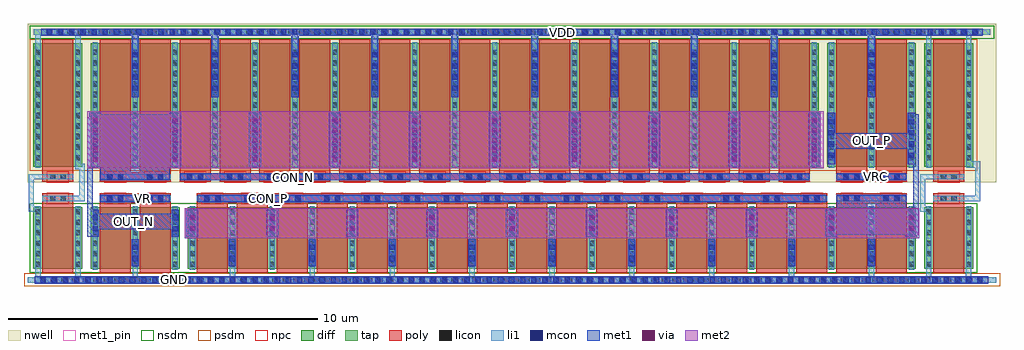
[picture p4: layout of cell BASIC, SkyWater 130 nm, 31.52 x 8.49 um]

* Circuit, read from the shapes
.subckt BASIC CON_N CON_P GND OUT_N OUT_P VDD VR VRC
XM1 GND VDD GND GND sky130_fd_pr__nfet_01v8 w=2 l=1 m=2
XM2 GND VR OUT_N GND sky130_fd_pr__nfet_01v8 w=2 l=1 m=2
XM3 GND CON_P OUT_P GND sky130_fd_pr__nfet_01v8 w=2 l=1 m=16
XM4 GND OUT_P OUT_P GND sky130_fd_pr__nfet_01v8 w=2 l=1 m=2
XM5 VDD GND VDD VDD sky130_fd_pr__pfet_01v8 w=4 l=1 m=2
XM6 VDD OUT_N OUT_N VDD sky130_fd_pr__pfet_01v8 w=4 l=1 m=2
XM7 VDD CON_N OUT_N VDD sky130_fd_pr__pfet_01v8 w=4 l=1 m=16
XM8 VDD VRC OUT_P VDD sky130_fd_pr__pfet_01v8 w=4 l=1 m=2
.ends

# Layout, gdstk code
import gdstk
lib = gdstk.Library(unit=1e-6, precision=1e-09)
def R(c, l, rs):  # rectangles x0, y0, x1, y1
    for r in rs: c.add(gdstk.rectangle(r[:2], r[2:], *l))
def A(c, l, x, y, w, h, nx, ny, dx, dy):  # array of equal rectangles
    R(c, l, [(x+i*dx, y+j*dy, x+i*dx+w, y+j*dy+h) for i in range(nx) for j in range(ny)])
nwell = (64, 20)
diff = (65, 20)
tap = (65, 44)
poly = (66, 20)
licon = (66, 44)
li1 = (67, 20)
mcon = (67, 44)
met1_pin = (68, 16)
met1 = (68, 20)
via = (68, 44)
met2 = (69, 20)
nsdm = (93, 44)
psdm = (94, 20)
npc = (95, 20)

sky130_fd_pr__nfet_01v8_ = lib.new_cell('sky130_fd_pr__nfet_01v8_87G7BK')
R(sky130_fd_pr__nfet_01v8_, diff, [(-1.435,-1.155,1.435,0.845)])
R(sky130_fd_pr__nfet_01v8_, poly, [(-1.145,-1.285,-0.145,1.285), (0.145,-1.285,1.145,1.285)])
A(sky130_fd_pr__nfet_01v8_, licon, -1.375, -1.09, 0.17, 0.17, 3, 6, 1.29, 0.34)
R(sky130_fd_pr__nfet_01v8_, licon, [(-0.9,1.035,-0.73,1.205), (-0.56,1.035,-0.39,1.205), (0.39,1.035,0.56,1.205), (0.73,1.035,0.9,1.205)])
A(sky130_fd_pr__nfet_01v8_, li1, -1.375, -1.175, 0.17, 2.04, 3, 1, 1.29, 0)
R(sky130_fd_pr__nfet_01v8_, li1, [(-1.145,1.035,-0.145,1.205), (0.145,1.035,1.145,1.205)])
R(sky130_fd_pr__nfet_01v8_, mcon, [(-0.085,-0.9,0.085,-0.73), (-0.085,-0.54,0.085,-0.37), (-1.375,0.06,-1.205,0.23), (1.205,0.06,1.375,0.23), (-1.375,0.42,-1.205,0.59), (1.205,0.42,1.375,0.59), (-0.91,1.035,-0.74,1.205), (-0.55,1.035,-0.38,1.205), (0.38,1.035,0.55,1.205), (0.74,1.035,0.91,1.205)])
R(sky130_fd_pr__nfet_01v8_, met1, [(-0.115,-1.07,0.115,-0.2), (-1.405,-0.11,-1.175,0.76), (1.175,-0.11,1.405,0.76), (-1.125,1.005,-0.165,1.235), (0.165,1.005,1.125,1.235)])
R(sky130_fd_pr__nfet_01v8_, nsdm, [(-1.56,-1.28,1.56,0.97)])
R(sky130_fd_pr__nfet_01v8_, npc, [(-1,0.935,-0.29,1.305), (0.29,0.935,1,1.305)])
sky130_fd_pr__nfet_01v8_.add(gdstk.Label('D0', (-1.29,-0.155), layer=67, texttype=5))
sky130_fd_pr__nfet_01v8_.add(gdstk.Label('G0', (-0.645,1.12), layer=67, texttype=5))
sky130_fd_pr__nfet_01v8_.add(gdstk.Label('S1', (0,-0.155), layer=67, texttype=5))
sky130_fd_pr__nfet_01v8_.add(gdstk.Label('G1', (0.645,1.12), layer=67, texttype=5))

sky130_fd_pr__pfet_01v8_ = lib.new_cell('sky130_fd_pr__pfet_01v8_BLH2MN')
R(sky130_fd_pr__pfet_01v8_, nwell, [(-1.615,-2.32,1.615,2.49)])
R(sky130_fd_pr__pfet_01v8_, diff, [(-1.435,-1.82,1.435,2.18)])
R(sky130_fd_pr__pfet_01v8_, poly, [(-1.145,-2.305,-0.145,2.31), (0.145,-2.305,1.145,2.31)])
A(sky130_fd_pr__pfet_01v8_, licon, -1.375, -1.605, 0.17, 0.17, 3, 11, 1.29, 0.34)
R(sky130_fd_pr__pfet_01v8_, licon, [(-0.9,-2.225,-0.73,-2.055), (-0.56,-2.225,-0.39,-2.055), (0.39,-2.225,0.56,-2.055), (0.73,-2.225,0.9,-2.055)])
A(sky130_fd_pr__pfet_01v8_, li1, -1.375, -1.84, 0.17, 4.04, 3, 1, 1.29, 0)
R(sky130_fd_pr__pfet_01v8_, li1, [(-1.145,-2.225,-0.145,-2.055), (0.145,-2.225,1.145,-2.055)])
A(sky130_fd_pr__pfet_01v8_, mcon, -1.375, -1.525, 0.17, 0.17, 1, 4, 0, 0.36)
A(sky130_fd_pr__pfet_01v8_, mcon, 1.205, -1.525, 0.17, 0.17, 1, 4, 0, 0.36)
A(sky130_fd_pr__pfet_01v8_, mcon, -0.085, 0.635, 0.17, 0.17, 1, 4, 0, 0.36)
R(sky130_fd_pr__pfet_01v8_, mcon, [(-0.91,-2.225,-0.74,-2.055), (-0.55,-2.225,-0.38,-2.055), (0.38,-2.225,0.55,-2.055), (0.74,-2.225,0.91,-2.055)])
R(sky130_fd_pr__pfet_01v8_, met1, [(-1.125,-2.255,-0.165,-2.025), (0.165,-2.255,1.125,-2.025), (-1.405,-1.735,-1.175,-0.065), (1.175,-1.735,1.405,-0.065), (-0.115,0.425,0.115,2.095)])
R(sky130_fd_pr__pfet_01v8_, psdm, [(-1.56,-1.945,1.56,2.305)])
R(sky130_fd_pr__pfet_01v8_, npc, [(-1,-2.325,-0.29,-1.955), (0.29,-2.325,1,-1.955)])
sky130_fd_pr__pfet_01v8_.add(gdstk.Label('D0', (-1.29,0.18), layer=67, texttype=5))
sky130_fd_pr__pfet_01v8_.add(gdstk.Label('G0', (-0.645,-2.14), layer=67, texttype=5))
sky130_fd_pr__pfet_01v8_.add(gdstk.Label('S1', (0,0.18), layer=67, texttype=5))
sky130_fd_pr__pfet_01v8_.add(gdstk.Label('G1', (0.645,-2.14), layer=67, texttype=5))

c_sky130_fd_pr__pfet_01v8_ = lib.new_cell('sky130_fd_pr__pfet_01v8_TZ8JKT')
R(c_sky130_fd_pr__pfet_01v8_, nwell, [(-0.97,-2.32,0.97,2.49)])
R(c_sky130_fd_pr__pfet_01v8_, diff, [(-0.79,-1.82,0.79,2.18)])
R(c_sky130_fd_pr__pfet_01v8_, poly, [(-0.5,-2.305,0.5,2.31)])
A(c_sky130_fd_pr__pfet_01v8_, licon, -0.73, -1.605, 0.17, 0.17, 1, 11, 0, 0.34)
A(c_sky130_fd_pr__pfet_01v8_, licon, 0.56, -1.605, 0.17, 0.17, 1, 11, 0, 0.34)
R(c_sky130_fd_pr__pfet_01v8_, licon, [(-0.255,-2.225,-0.085,-2.055), (0.085,-2.225,0.255,-2.055)])
R(c_sky130_fd_pr__pfet_01v8_, li1, [(-0.5,-2.225,0.5,-2.055), (-0.73,-1.84,-0.56,2.2), (0.56,-1.84,0.73,2.2)])
R(c_sky130_fd_pr__pfet_01v8_, psdm, [(-0.915,-1.945,0.915,2.305)])
R(c_sky130_fd_pr__pfet_01v8_, npc, [(-0.355,-2.325,0.355,-1.955)])
c_sky130_fd_pr__pfet_01v8_.add(gdstk.Label('D', (-0.645,0.18), layer=67, texttype=5))
c_sky130_fd_pr__pfet_01v8_.add(gdstk.Label('S', (0.645,0.18), layer=67, texttype=5))
c_sky130_fd_pr__pfet_01v8_.add(gdstk.Label('G', (0,-2.14), layer=67, texttype=5))

c_sky130_fd_pr__nfet_01v8_ = lib.new_cell('sky130_fd_pr__nfet_01v8_3H4BCP')
R(c_sky130_fd_pr__nfet_01v8_, diff, [(-0.79,-1.155,0.79,0.845)])
R(c_sky130_fd_pr__nfet_01v8_, poly, [(-0.5,-1.285,0.5,1.285)])
A(c_sky130_fd_pr__nfet_01v8_, licon, -0.73, -1.09, 0.17, 0.17, 1, 6, 0, 0.34)
A(c_sky130_fd_pr__nfet_01v8_, licon, 0.56, -1.09, 0.17, 0.17, 1, 6, 0, 0.34)
R(c_sky130_fd_pr__nfet_01v8_, licon, [(-0.255,1.035,-0.085,1.205), (0.085,1.035,0.255,1.205)])
R(c_sky130_fd_pr__nfet_01v8_, li1, [(-0.73,-1.175,-0.56,0.865), (0.56,-1.175,0.73,0.865), (-0.5,1.035,0.5,1.205)])
R(c_sky130_fd_pr__nfet_01v8_, nsdm, [(-0.915,-1.28,0.915,0.97)])
R(c_sky130_fd_pr__nfet_01v8_, npc, [(-0.355,0.935,0.355,1.305)])
c_sky130_fd_pr__nfet_01v8_.add(gdstk.Label('D', (-0.645,-0.155), layer=67, texttype=5))
c_sky130_fd_pr__nfet_01v8_.add(gdstk.Label('S', (0.645,-0.155), layer=67, texttype=5))
c_sky130_fd_pr__nfet_01v8_.add(gdstk.Label('G', (0,1.12), layer=67, texttype=5))

c_sky130_fd_pr__nfet_01v8__ = lib.new_cell('sky130_fd_pr__nfet_01v8_JTRXKL')
R(c_sky130_fd_pr__nfet_01v8__, diff, [(-10.465,-1.155,10.465,0.845)])
A(c_sky130_fd_pr__nfet_01v8__, poly, -10.175, -1.285, 1, 2.57, 16, 1, 1.29, 0)
A(c_sky130_fd_pr__nfet_01v8__, licon, -10.405, -1.09, 0.17, 0.17, 17, 6, 1.29, 0.34)
R(c_sky130_fd_pr__nfet_01v8__, licon, [(-9.93,1.035,-9.76,1.205), (-9.59,1.035,-9.42,1.205), (-8.64,1.035,-8.47,1.205), (-8.3,1.035,-8.13,1.205), (-7.35,1.035,-7.18,1.205), (-7.01,1.035,-6.84,1.205), (-6.06,1.035,-5.89,1.205), (-5.72,1.035,-5.55,1.205), (-4.77,1.035,-4.6,1.205), (-4.43,1.035,-4.26,1.205), (-3.48,1.035,-3.31,1.205), (-3.14,1.035,-2.97,1.205), (-2.19,1.035,-2.02,1.205), (-1.85,1.035,-1.68,1.205), (-0.9,1.035,-0.73,1.205), (-0.56,1.035,-0.39,1.205), (0.39,1.035,0.56,1.205), (0.73,1.035,0.9,1.205), (1.68,1.035,1.85,1.205), (2.02,1.035,2.19,1.205), (2.97,1.035,3.14,1.205), (3.31,1.035,3.48,1.205), (4.26,1.035,4.43,1.205), (4.6,1.035,4.77,1.205), (5.55,1.035,5.72,1.205), (5.89,1.035,6.06,1.205), (6.84,1.035,7.01,1.205), (7.18,1.035,7.35,1.205), (8.13,1.035,8.3,1.205), (8.47,1.035,8.64,1.205), (9.42,1.035,9.59,1.205), (9.76,1.035,9.93,1.205)])
A(c_sky130_fd_pr__nfet_01v8__, li1, -10.405, -1.175, 0.17, 2.04, 17, 1, 1.29, 0)
A(c_sky130_fd_pr__nfet_01v8__, li1, -10.175, 1.035, 1, 0.17, 16, 1, 1.29, 0)
A(c_sky130_fd_pr__nfet_01v8__, mcon, -9.115, -0.9, 0.17, 0.17, 8, 2, 2.58, 0.36)
A(c_sky130_fd_pr__nfet_01v8__, mcon, -10.405, 0.06, 0.17, 0.17, 9, 2, 2.58, 0.36)
R(c_sky130_fd_pr__nfet_01v8__, mcon, [(-9.94,1.035,-9.77,1.205), (-9.58,1.035,-9.41,1.205), (-8.65,1.035,-8.48,1.205), (-8.29,1.035,-8.12,1.205), (-7.36,1.035,-7.19,1.205), (-7,1.035,-6.83,1.205), (-6.07,1.035,-5.9,1.205), (-5.71,1.035,-5.54,1.205), (-4.78,1.035,-4.61,1.205), (-4.42,1.035,-4.25,1.205), (-3.49,1.035,-3.32,1.205), (-3.13,1.035,-2.96,1.205), (-2.2,1.035,-2.03,1.205), (-1.84,1.035,-1.67,1.205), (-0.91,1.035,-0.74,1.205), (-0.55,1.035,-0.38,1.205), (0.38,1.035,0.55,1.205), (0.74,1.035,0.91,1.205), (1.67,1.035,1.84,1.205), (2.03,1.035,2.2,1.205), (2.96,1.035,3.13,1.205), (3.32,1.035,3.49,1.205), (4.25,1.035,4.42,1.205), (4.61,1.035,4.78,1.205), (5.54,1.035,5.71,1.205), (5.9,1.035,6.07,1.205), (6.83,1.035,7,1.205), (7.19,1.035,7.36,1.205), (8.12,1.035,8.29,1.205), (8.48,1.035,8.65,1.205), (9.41,1.035,9.58,1.205), (9.77,1.035,9.94,1.205)])
A(c_sky130_fd_pr__nfet_01v8__, met1, -9.145, -1.07, 0.23, 0.87, 8, 1, 2.58, 0)
A(c_sky130_fd_pr__nfet_01v8__, met1, -10.435, -0.11, 0.23, 0.87, 9, 1, 2.58, 0)
A(c_sky130_fd_pr__nfet_01v8__, met1, -10.155, 1.005, 0.96, 0.23, 16, 1, 1.29, 0)
R(c_sky130_fd_pr__nfet_01v8__, nsdm, [(-10.59,-1.28,10.59,0.97)])
A(c_sky130_fd_pr__nfet_01v8__, npc, -10.03, 0.935, 0.71, 0.37, 16, 1, 1.29, 0)
c_sky130_fd_pr__nfet_01v8__.add(gdstk.Label('D0', (-10.32,-0.155), layer=67, texttype=5))
c_sky130_fd_pr__nfet_01v8__.add(gdstk.Label('G0', (-9.675,1.12), layer=67, texttype=5))
c_sky130_fd_pr__nfet_01v8__.add(gdstk.Label('S1', (-9.03,-0.155), layer=67, texttype=5))
c_sky130_fd_pr__nfet_01v8__.add(gdstk.Label('G1', (-8.385,1.12), layer=67, texttype=5))
c_sky130_fd_pr__nfet_01v8__.add(gdstk.Label('D2', (-7.74,-0.155), layer=67, texttype=5))
c_sky130_fd_pr__nfet_01v8__.add(gdstk.Label('G2', (-7.095,1.12), layer=67, texttype=5))
c_sky130_fd_pr__nfet_01v8__.add(gdstk.Label('S3', (-6.45,-0.155), layer=67, texttype=5))
c_sky130_fd_pr__nfet_01v8__.add(gdstk.Label('G3', (-5.805,1.12), layer=67, texttype=5))
c_sky130_fd_pr__nfet_01v8__.add(gdstk.Label('D4', (-5.16,-0.155), layer=67, texttype=5))
c_sky130_fd_pr__nfet_01v8__.add(gdstk.Label('G4', (-4.515,1.12), layer=67, texttype=5))
c_sky130_fd_pr__nfet_01v8__.add(gdstk.Label('S5', (-3.87,-0.155), layer=67, texttype=5))
c_sky130_fd_pr__nfet_01v8__.add(gdstk.Label('G5', (-3.225,1.12), layer=67, texttype=5))
c_sky130_fd_pr__nfet_01v8__.add(gdstk.Label('D6', (-2.58,-0.155), layer=67, texttype=5))
c_sky130_fd_pr__nfet_01v8__.add(gdstk.Label('G6', (-1.935,1.12), layer=67, texttype=5))
c_sky130_fd_pr__nfet_01v8__.add(gdstk.Label('S7', (-1.29,-0.155), layer=67, texttype=5))
c_sky130_fd_pr__nfet_01v8__.add(gdstk.Label('G7', (-0.645,1.12), layer=67, texttype=5))
c_sky130_fd_pr__nfet_01v8__.add(gdstk.Label('D8', (0,-0.155), layer=67, texttype=5))
c_sky130_fd_pr__nfet_01v8__.add(gdstk.Label('G8', (0.645,1.12), layer=67, texttype=5))
c_sky130_fd_pr__nfet_01v8__.add(gdstk.Label('S9', (1.29,-0.155), layer=67, texttype=5))
c_sky130_fd_pr__nfet_01v8__.add(gdstk.Label('G9', (1.935,1.12), layer=67, texttype=5))
c_sky130_fd_pr__nfet_01v8__.add(gdstk.Label('D10', (2.58,-0.155), layer=67, texttype=5))
c_sky130_fd_pr__nfet_01v8__.add(gdstk.Label('G10', (3.225,1.12), layer=67, texttype=5))
c_sky130_fd_pr__nfet_01v8__.add(gdstk.Label('S11', (3.87,-0.155), layer=67, texttype=5))
c_sky130_fd_pr__nfet_01v8__.add(gdstk.Label('G11', (4.515,1.12), layer=67, texttype=5))
c_sky130_fd_pr__nfet_01v8__.add(gdstk.Label('D12', (5.16,-0.155), layer=67, texttype=5))
c_sky130_fd_pr__nfet_01v8__.add(gdstk.Label('G12', (5.805,1.12), layer=67, texttype=5))
c_sky130_fd_pr__nfet_01v8__.add(gdstk.Label('S13', (6.45,-0.155), layer=67, texttype=5))
c_sky130_fd_pr__nfet_01v8__.add(gdstk.Label('G13', (7.095,1.12), layer=67, texttype=5))
c_sky130_fd_pr__nfet_01v8__.add(gdstk.Label('D14', (7.74,-0.155), layer=67, texttype=5))
c_sky130_fd_pr__nfet_01v8__.add(gdstk.Label('G14', (8.385,1.12), layer=67, texttype=5))
c_sky130_fd_pr__nfet_01v8__.add(gdstk.Label('S15', (9.03,-0.155), layer=67, texttype=5))
c_sky130_fd_pr__nfet_01v8__.add(gdstk.Label('G15', (9.675,1.12), layer=67, texttype=5))

c_sky130_fd_pr__pfet_01v8__ = lib.new_cell('sky130_fd_pr__pfet_01v8_73VN2K')
R(c_sky130_fd_pr__pfet_01v8__, nwell, [(-10.645,-2.32,10.645,2.49)])
R(c_sky130_fd_pr__pfet_01v8__, diff, [(-10.465,-1.82,10.465,2.18)])
A(c_sky130_fd_pr__pfet_01v8__, poly, -10.175, -2.305, 1, 4.615, 16, 1, 1.29, 0)
A(c_sky130_fd_pr__pfet_01v8__, licon, -10.405, -1.605, 0.17, 0.17, 17, 11, 1.29, 0.34)
R(c_sky130_fd_pr__pfet_01v8__, licon, [(-9.93,-2.225,-9.76,-2.055), (-9.59,-2.225,-9.42,-2.055), (-8.64,-2.225,-8.47,-2.055), (-8.3,-2.225,-8.13,-2.055), (-7.35,-2.225,-7.18,-2.055), (-7.01,-2.225,-6.84,-2.055), (-6.06,-2.225,-5.89,-2.055), (-5.72,-2.225,-5.55,-2.055), (-4.77,-2.225,-4.6,-2.055), (-4.43,-2.225,-4.26,-2.055), (-3.48,-2.225,-3.31,-2.055), (-3.14,-2.225,-2.97,-2.055), (-2.19,-2.225,-2.02,-2.055), (-1.85,-2.225,-1.68,-2.055), (-0.9,-2.225,-0.73,-2.055), (-0.56,-2.225,-0.39,-2.055), (0.39,-2.225,0.56,-2.055), (0.73,-2.225,0.9,-2.055), (1.68,-2.225,1.85,-2.055), (2.02,-2.225,2.19,-2.055), (2.97,-2.225,3.14,-2.055), (3.31,-2.225,3.48,-2.055), (4.26,-2.225,4.43,-2.055), (4.6,-2.225,4.77,-2.055), (5.55,-2.225,5.72,-2.055), (5.89,-2.225,6.06,-2.055), (6.84,-2.225,7.01,-2.055), (7.18,-2.225,7.35,-2.055), (8.13,-2.225,8.3,-2.055), (8.47,-2.225,8.64,-2.055), (9.42,-2.225,9.59,-2.055), (9.76,-2.225,9.93,-2.055)])
A(c_sky130_fd_pr__pfet_01v8__, li1, -10.175, -2.225, 1, 0.17, 16, 1, 1.29, 0)
A(c_sky130_fd_pr__pfet_01v8__, li1, -10.405, -1.84, 0.17, 4.04, 17, 1, 1.29, 0)
A(c_sky130_fd_pr__pfet_01v8__, mcon, -10.405, -1.525, 0.17, 0.17, 9, 4, 2.58, 0.36)
A(c_sky130_fd_pr__pfet_01v8__, mcon, -9.115, 0.635, 0.17, 0.17, 8, 4, 2.58, 0.36)
R(c_sky130_fd_pr__pfet_01v8__, mcon, [(-9.94,-2.225,-9.77,-2.055), (-9.58,-2.225,-9.41,-2.055), (-8.65,-2.225,-8.48,-2.055), (-8.29,-2.225,-8.12,-2.055), (-7.36,-2.225,-7.19,-2.055), (-7,-2.225,-6.83,-2.055), (-6.07,-2.225,-5.9,-2.055), (-5.71,-2.225,-5.54,-2.055), (-4.78,-2.225,-4.61,-2.055), (-4.42,-2.225,-4.25,-2.055), (-3.49,-2.225,-3.32,-2.055), (-3.13,-2.225,-2.96,-2.055), (-2.2,-2.225,-2.03,-2.055), (-1.84,-2.225,-1.67,-2.055), (-0.91,-2.225,-0.74,-2.055), (-0.55,-2.225,-0.38,-2.055), (0.38,-2.225,0.55,-2.055), (0.74,-2.225,0.91,-2.055), (1.67,-2.225,1.84,-2.055), (2.03,-2.225,2.2,-2.055), (2.96,-2.225,3.13,-2.055), (3.32,-2.225,3.49,-2.055), (4.25,-2.225,4.42,-2.055), (4.61,-2.225,4.78,-2.055), (5.54,-2.225,5.71,-2.055), (5.9,-2.225,6.07,-2.055), (6.83,-2.225,7,-2.055), (7.19,-2.225,7.36,-2.055), (8.12,-2.225,8.29,-2.055), (8.48,-2.225,8.65,-2.055), (9.41,-2.225,9.58,-2.055), (9.77,-2.225,9.94,-2.055)])
A(c_sky130_fd_pr__pfet_01v8__, met1, -10.155, -2.255, 0.96, 0.23, 16, 1, 1.29, 0)
A(c_sky130_fd_pr__pfet_01v8__, met1, -10.435, -1.735, 0.23, 1.67, 9, 1, 2.58, 0)
A(c_sky130_fd_pr__pfet_01v8__, met1, -9.145, 0.425, 0.23, 1.67, 8, 1, 2.58, 0)
R(c_sky130_fd_pr__pfet_01v8__, psdm, [(-10.59,-1.945,10.59,2.305)])
A(c_sky130_fd_pr__pfet_01v8__, npc, -10.03, -2.325, 0.71, 0.37, 16, 1, 1.29, 0)
c_sky130_fd_pr__pfet_01v8__.add(gdstk.Label('D0', (-10.32,0.18), layer=67, texttype=5))
c_sky130_fd_pr__pfet_01v8__.add(gdstk.Label('G0', (-9.675,-2.14), layer=67, texttype=5))
c_sky130_fd_pr__pfet_01v8__.add(gdstk.Label('S1', (-9.03,0.18), layer=67, texttype=5))
c_sky130_fd_pr__pfet_01v8__.add(gdstk.Label('G1', (-8.385,-2.14), layer=67, texttype=5))
c_sky130_fd_pr__pfet_01v8__.add(gdstk.Label('D2', (-7.74,0.18), layer=67, texttype=5))
c_sky130_fd_pr__pfet_01v8__.add(gdstk.Label('G2', (-7.095,-2.14), layer=67, texttype=5))
c_sky130_fd_pr__pfet_01v8__.add(gdstk.Label('S3', (-6.45,0.18), layer=67, texttype=5))
c_sky130_fd_pr__pfet_01v8__.add(gdstk.Label('G3', (-5.805,-2.14), layer=67, texttype=5))
c_sky130_fd_pr__pfet_01v8__.add(gdstk.Label('D4', (-5.16,0.18), layer=67, texttype=5))
c_sky130_fd_pr__pfet_01v8__.add(gdstk.Label('G4', (-4.515,-2.14), layer=67, texttype=5))
c_sky130_fd_pr__pfet_01v8__.add(gdstk.Label('S5', (-3.87,0.18), layer=67, texttype=5))
c_sky130_fd_pr__pfet_01v8__.add(gdstk.Label('G5', (-3.225,-2.14), layer=67, texttype=5))
c_sky130_fd_pr__pfet_01v8__.add(gdstk.Label('D6', (-2.58,0.18), layer=67, texttype=5))
c_sky130_fd_pr__pfet_01v8__.add(gdstk.Label('G6', (-1.935,-2.14), layer=67, texttype=5))
c_sky130_fd_pr__pfet_01v8__.add(gdstk.Label('S7', (-1.29,0.18), layer=67, texttype=5))
c_sky130_fd_pr__pfet_01v8__.add(gdstk.Label('G7', (-0.645,-2.14), layer=67, texttype=5))
c_sky130_fd_pr__pfet_01v8__.add(gdstk.Label('D8', (0,0.18), layer=67, texttype=5))
c_sky130_fd_pr__pfet_01v8__.add(gdstk.Label('G8', (0.645,-2.14), layer=67, texttype=5))
c_sky130_fd_pr__pfet_01v8__.add(gdstk.Label('S9', (1.29,0.18), layer=67, texttype=5))
c_sky130_fd_pr__pfet_01v8__.add(gdstk.Label('G9', (1.935,-2.14), layer=67, texttype=5))
c_sky130_fd_pr__pfet_01v8__.add(gdstk.Label('D10', (2.58,0.18), layer=67, texttype=5))
c_sky130_fd_pr__pfet_01v8__.add(gdstk.Label('G10', (3.225,-2.14), layer=67, texttype=5))
c_sky130_fd_pr__pfet_01v8__.add(gdstk.Label('S11', (3.87,0.18), layer=67, texttype=5))
c_sky130_fd_pr__pfet_01v8__.add(gdstk.Label('G11', (4.515,-2.14), layer=67, texttype=5))
c_sky130_fd_pr__pfet_01v8__.add(gdstk.Label('D12', (5.16,0.18), layer=67, texttype=5))
c_sky130_fd_pr__pfet_01v8__.add(gdstk.Label('G12', (5.805,-2.14), layer=67, texttype=5))
c_sky130_fd_pr__pfet_01v8__.add(gdstk.Label('S13', (6.45,0.18), layer=67, texttype=5))
c_sky130_fd_pr__pfet_01v8__.add(gdstk.Label('G13', (7.095,-2.14), layer=67, texttype=5))
c_sky130_fd_pr__pfet_01v8__.add(gdstk.Label('D14', (7.74,0.18), layer=67, texttype=5))
c_sky130_fd_pr__pfet_01v8__.add(gdstk.Label('G14', (8.385,-2.14), layer=67, texttype=5))
c_sky130_fd_pr__pfet_01v8__.add(gdstk.Label('S15', (9.03,0.18), layer=67, texttype=5))
c_sky130_fd_pr__pfet_01v8__.add(gdstk.Label('G15', (9.675,-2.14), layer=67, texttype=5))

basic = lib.new_cell('BASIC')
R(basic, nwell, [(2.99,-4.41,34.26,-4.315), (2.99,-4.315,7.89,-4.145), (7.91,-4.315,34.26,-4.145), (2.99,-4.145,34.26,0.72)])
R(basic, tap, [(2.99,-7.645,34.26,-7.475), (3.175,0.36,34.07,0.53)])
R(basic, poly, [(5.31,-5.085,7.6,-4.765), (8.45,-5.085,28.8,-4.765), (29.09,-5.08,31.38,-4.765), (5.31,-4.395,7.6,-4.075), (29.09,-4.395,31.38,-4.08), (7.91,-4.345,28.22,-4.115)])
A(basic, licon, 3.395, -7.645, 0.17, 0.17, 90, 1, 0.34, 0)
A(basic, licon, 3.585, 0.36, 0.17, 0.17, 89, 1, 0.34, 0)
R(basic, li1, [(2.99,-7.645,34.26,-7.475), (3.23,-7.475,3.4,-7.19), (4.52,-7.475,4.69,-7.18), (6.37,-7.475,6.54,-7.185), (9.51,-7.475,9.68,-7.19), (12.09,-7.475,12.26,-7.145), (14.67,-7.475,14.84,-7.17), (17.25,-7.475,17.42,-7.155), (19.83,-7.475,20,-7.145), (22.41,-7.475,22.58,-7.17), (24.99,-7.475,25.16,-7.18), (27.57,-7.475,27.74,-7.19), (30.15,-7.475,30.32,-7.185), (32,-7.475,32.17,-7.17), (33.285,-7.475,33.455,-7.155), (31.805,-5.365,32.165,-5.295), (3.015,-5.355,3.375,-5.185), (31.805,-5.295,32.08,-5.185), (3.015,-5.185,3.185,-4.315), (31.805,-5.185,31.975,-4.315), (4.38,-5.015,4.82,-4.845), (6.23,-5.015,6.665,-4.845), (8.45,-5.015,28.8,-4.845), (30.01,-5.015,30.425,-4.845), (33.085,-5.015,33.755,-4.845), (4.65,-4.845,4.82,-3.98), (33.585,-4.845,33.755,-3.93), (3.015,-4.315,3.605,-4.145), (5.31,-4.315,7.6,-4.145), (29.09,-4.315,31.38,-4.145), (31.805,-4.315,32.315,-4.145), (4.52,-3.98,4.82,-3.81), (33.3,-3.93,33.755,-3.85), (33.34,-3.85,33.755,-3.73), (4.52,0.02,4.69,0.36), (6.37,0.03,6.54,0.36), (19.27,0.045,19.44,0.36), (8.95,0.06,9.12,0.36), (3.23,0.065,3.4,0.36), (14.11,0.07,14.28,0.36), (30.15,0.07,30.32,0.36), (16.69,0.075,16.86,0.36), (32,0.08,32.17,0.36), (33.29,0.09,33.46,0.36), (21.85,0.095,22.02,0.36), (24.43,0.095,24.6,0.36), (11.53,0.1,11.7,0.36), (27.01,0.1,27.18,0.36), (3.175,0.36,34.07,0.53)])
A(basic, mcon, 3.405, -7.645, 0.17, 0.17, 85, 1, 0.36, 0)
A(basic, mcon, 3.605, 0.36, 0.17, 0.17, 84, 1, 0.36, 0)
R(basic, met1_pin, [(7.23,-7.625,8.23,-7.475), (5.905,-5.81,6.905,-5.52), (10.275,-5.015,11.275,-4.835), (6.18,-5.01,7.18,-4.875), (29.865,-4.325,30.865,-4.115), (29.735,-3.25,30.735,-2.87)])
A(basic, met1, 15.85, -6.16, 0.39, 0.87, 3, 1, 5.16, 0)
A(basic, met1, 10.13, -3.91, 0.39, 1.755, 8, 1, 2.58, 0)
R(basic, met1, [(3.21,-7.675,34.01,-7.445), (18.43,-6.17,18.82,-5.3), (4.91,-6.165,5.08,-5.925), (10.695,-6.165,11.085,-5.295), (23.59,-6.165,23.98,-5.295), (8.11,-6.16,8.5,-5.29), (13.27,-6.16,13.66,-5.29), (28.745,-6.16,29.135,-6.1), (31.325,-6.16,31.715,-6.1), (28.745,-6.1,31.755,-5.29), (4.91,-5.925,7.83,-5.42), (4.91,-5.42,5.08,-3.91), (29.11,-5.29,31.36,-5.025), (31.585,-5.29,31.755,-3.33), (5.33,-5.045,7.58,-4.815), (8.47,-5.045,28.78,-4.815), (30.01,-5.025,30.455,-4.815), (5.33,-4.345,7.58,-3.91), (7.91,-4.345,28.22,-4.115), (29.11,-4.345,31.36,-4.115), (4.91,-3.91,7.94,-2.3), (28.86,-3.33,31.755,-2.825), (31.585,-2.825,31.755,-2.215), (4.97,-2.3,7.94,-2.215), (4.97,-2.215,5.36,-2.155), (7.55,-2.215,7.94,-2.155), (26.98,-0.07,27.21,0.33), (24.4,-0.05,24.63,0.33), (19.24,-0.04,19.47,0.33), (8.92,-0.035,9.15,0.33), (16.66,-0.035,16.89,0.33), (30.12,-0.035,30.35,0.33), (11.5,-0.03,11.73,0.33), (14.08,-0.025,14.31,0.33), (21.82,-0.025,22.05,0.33), (6.34,-0.015,6.57,0.33), (3.43,0.33,33.83,0.56)])
A(basic, via, 15.97, -5.96, 0.15, 0.15, 3, 2, 5.16, 0.32)
A(basic, via, 5.09, -3.75, 0.15, 0.15, 10, 5, 2.58, 0.32)
R(basic, via, [(18.55,-5.97,18.7,-5.82), (10.815,-5.965,10.965,-5.815), (23.71,-5.965,23.86,-5.815), (8.23,-5.96,8.38,-5.81), (13.39,-5.96,13.54,-5.81), (28.865,-5.96,29.015,-5.81), (31.445,-5.96,31.595,-5.81), (18.55,-5.65,18.7,-5.5), (10.815,-5.645,10.965,-5.495), (23.71,-5.645,23.86,-5.495), (8.23,-5.64,8.38,-5.49), (13.39,-5.64,13.54,-5.49), (28.865,-5.64,29.015,-5.49), (31.445,-5.64,31.595,-5.49)])
A(basic, met2, 15.9, -5.245, 0.29, 0.005, 3, 1, 5.16, 0)
R(basic, met2, [(18.48,-6.22,18.77,-6.21), (10.745,-6.215,11.035,-6.21), (23.64,-6.215,23.93,-6.21), (8.06,-6.21,31.77,-5.245), (8.16,-5.245,8.45,-5.24), (13.32,-5.245,13.61,-5.24), (28.795,-5.245,29.085,-5.24), (31.375,-5.245,31.665,-5.24), (4.9,-3.96,28.69,-2.105)])
R(basic, nsdm, [(4.875,-7.33,4.895,-5.08), (8.015,-7.33,8.035,-5.08), (31.795,-7.33,31.815,-5.08), (3.05,0.235,34.195,0.655)])
R(basic, psdm, [(2.865,-7.77,34.385,-7.35), (4.875,-4.035,4.895,0.215), (28.655,-4.035,28.675,0.215), (31.795,-4.035,31.815,0.215)])
basic.add(gdstk.Reference(sky130_fd_pr__nfet_01v8_, (6.455,-6.05)))
basic.add(gdstk.Reference(sky130_fd_pr__pfet_01v8_, (6.455,-2.09)))
basic.add(gdstk.Reference(c_sky130_fd_pr__pfet_01v8_, (3.96,-2.09)))
basic.add(gdstk.Reference(c_sky130_fd_pr__nfet_01v8_, (3.96,-6.05)))
basic.add(gdstk.Reference(c_sky130_fd_pr__nfet_01v8_, (32.73,-6.05)))
basic.add(gdstk.Reference(sky130_fd_pr__nfet_01v8_, (30.235,-6.05)))
basic.add(gdstk.Reference(sky130_fd_pr__pfet_01v8_, (30.235,-2.09)))
basic.add(gdstk.Reference(c_sky130_fd_pr__pfet_01v8_, (32.73,-2.09)))
basic.add(gdstk.Reference(c_sky130_fd_pr__nfet_01v8__, (18.625,-6.05)))
basic.add(gdstk.Reference(c_sky130_fd_pr__pfet_01v8__, (18.065,-2.09)))
basic.add(gdstk.Label('VRC', (30.365,-4.22), layer=68, texttype=5))
basic.add(gdstk.Label('CON_N', (11.572,-4.245), layer=68, texttype=5))
basic.add(gdstk.Label('OUT_N', (6.405,-5.665), layer=68, texttype=5))
basic.add(gdstk.Label('OUT_P', (30.235,-3.06), layer=68, texttype=5))
basic.add(gdstk.Label('VR', (6.68,-4.942), layer=68, texttype=5))
basic.add(gdstk.Label('CON_P', (10.775,-4.925), layer=68, texttype=5))
basic.add(gdstk.Label('VDD', (20.26,0.43), layer=68, texttype=5))
basic.add(gdstk.Label('GND', (7.73,-7.55), layer=68, texttype=5))

lib.write_gds('BASIC.gds')
